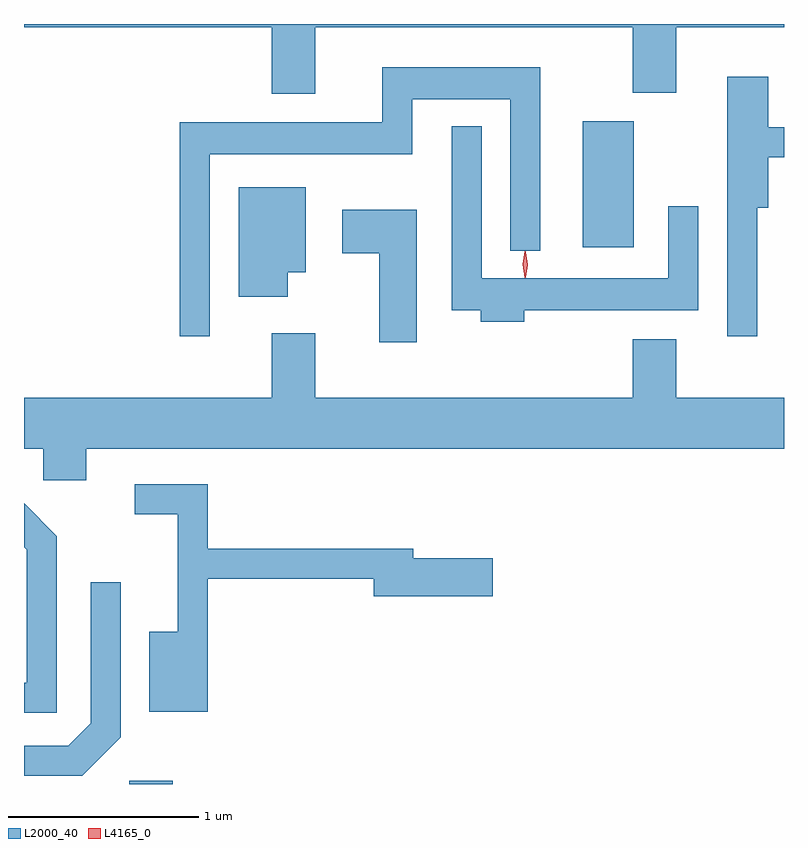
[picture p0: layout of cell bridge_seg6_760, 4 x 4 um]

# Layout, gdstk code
import gdstk
lib = gdstk.Library(unit=1e-6, precision=1e-09)
def R(c, l, rs):  # rectangles x0, y0, x1, y1
    for r in rs: c.add(gdstk.rectangle(r[:2], r[2:], *l))
def P(c, l, *ps):  # polygons
    for p in ps: c.add(gdstk.Polygon(p, *l))
L2000_40 = (2000, 40)
L4165_0 = (4165, 0)

bridge_seg6_760 = lib.new_cell('bridge_seg6_760')
R(bridge_seg6_760, L2000_40, [(524.041,1550.492,524.269,1550.509), (526.426,1553.316,526.694,1553.979)])
P(bridge_seg6_760, L2000_40, [(526.691,1554.131),(526.919,1554.131),(526.919,1554.476),(527.486,1554.476),(527.486,1554.492),(523.486,1554.492),(523.486,1554.476),(524.791,1554.476),(524.791,1554.126),(525.019,1554.126),(525.019,1554.476),(526.691,1554.476)],
  [(524.464,1553.806),(525.529,1553.806),(525.529,1554.096),(526.046,1554.096),(526.046,1553.298),(526.204,1553.298),(526.204,1554.264),(525.371,1554.264),(525.371,1553.974),(524.306,1553.974),(524.306,1552.848),(524.464,1552.848)],
  [(527.344,1553.526),(527.404,1553.526),(527.404,1553.791),(527.486,1553.791),(527.486,1553.949),(527.404,1553.949),(527.404,1554.214),(527.186,1554.214),(527.186,1552.848),(527.344,1552.848)],
  [(526.119,1552.986),(527.034,1552.986),(527.034,1553.533),(526.876,1553.533),(526.876,1553.154),(525.894,1553.154),(525.894,1553.953),(525.736,1553.953),(525.736,1552.986),(525.891,1552.986),(525.891,1552.926),(526.119,1552.926)],
  [(524.874,1553.186),(524.969,1553.186),(524.969,1553.634),(524.616,1553.634),(524.616,1553.056),(524.874,1553.056)],
  [(525.554,1553.514),(525.161,1553.514),(525.161,1553.286),(525.356,1553.286),(525.356,1552.816),(525.554,1552.816)],
  [(523.814,1552.256),(527.486,1552.256),(527.486,1552.524),(526.919,1552.524),(526.919,1552.834),(526.691,1552.834),(526.691,1552.524),(525.019,1552.524),(525.019,1552.864),(524.791,1552.864),(524.791,1552.524),(523.486,1552.524),(523.486,1552.256),(523.586,1552.256),(523.586,1552.091),(523.814,1552.091)],
  [(524.454,1551.571),(525.326,1551.571),(525.326,1551.481),(525.954,1551.481),(525.954,1551.679),(525.534,1551.679),(525.534,1551.729),(524.454,1551.729),(524.454,1552.069),(524.068,1552.069),(524.068,1551.911),(524.296,1551.911),(524.296,1551.294),(524.146,1551.294),(524.146,1550.871),(524.454,1550.871)],
  [(523.659,1551.797),(523.486,1551.97),(523.486,1551.739),(523.501,1551.724),(523.501,1551.024),(523.486,1551.024),(523.486,1550.866),(523.659,1550.866)],
  [(523.994,1550.739),(523.994,1551.553),(523.836,1551.553),(523.836,1550.812),(523.719,1550.694),(523.486,1550.694),(523.486,1550.536),(523.792,1550.536)])
P(bridge_seg6_760, L4165_0, [(526.128,1553.159),(526.128,1553.16),(526.118,1553.226),(526.127,1553.292),(526.128,1553.293),(526.128,1553.292),(526.138,1553.226),(526.128,1553.16)],
  [(526.122,1553.157),(526.122,1553.157),(526.112,1553.227),(526.122,1553.296),(526.122,1553.296),(526.123,1553.296),(526.132,1553.227),(526.123,1553.157)])

lib.write_gds('bridge_seg6_760.gds')
